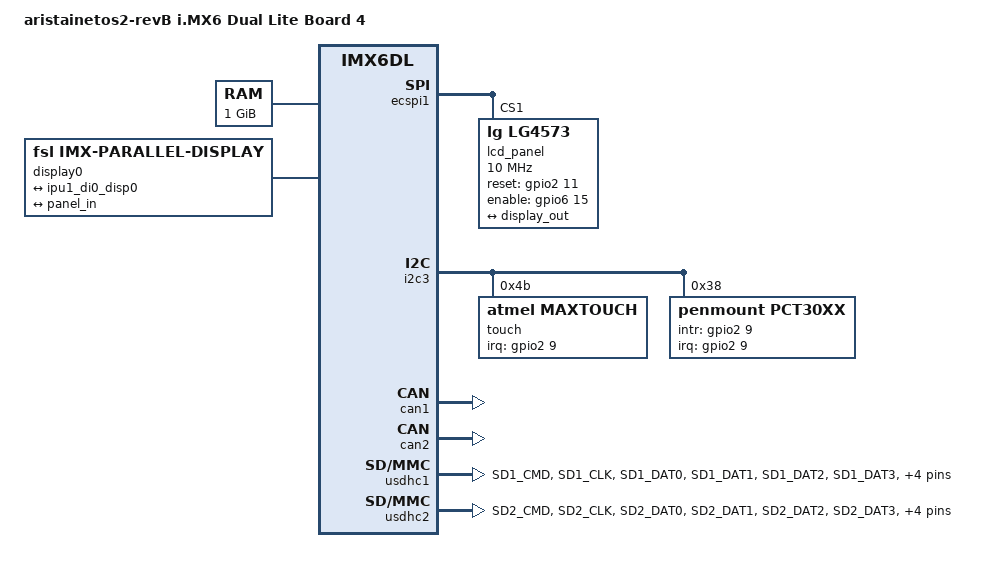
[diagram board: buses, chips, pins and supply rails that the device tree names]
/*
 * support for the imx6 based aristainetos2-revB board
 *
 * Copyright (C) 2015 Heiko Schocher <hs@denx.de>
 *
 * This file is dual-licensed: you can use it either under the terms
 * of the GPL or the X11 license, at your option. Note that this dual
 * licensing only applies to this file, and not this project as a
 * whole.
 *
 *  a) This file is free software; you can redistribute it and/or
 *     modify it under the terms of the GNU General Public License
 *     version 2 as published by the Free Software Foundation.
 *
 *     This file is distributed in the hope that it will be useful
 *     but WITHOUT ANY WARRANTY; without even the implied warranty of
 *     MERCHANTABILITY or FITNESS FOR A PARTICULAR PURPOSE.  See the
 *     GNU General Public License for more details.
 *
 * Or, alternatively
 *
 *  b) Permission is hereby granted, free of charge, to any person
 *     obtaining a copy of this software and associated documentation
 *     files (the "Software"), to deal in the Software without
 *     restriction, including without limitation the rights to use
 *     copy, modify, merge, publish, distribute, sublicense, and/or
 *     sell copies of the Software, and to permit persons to whom the
 *     Software is furnished to do so, subject to the following
 *     conditions:
 *
 *     The above copyright notice and this permission notice shall be
 *     included in all copies or substantial portions of the Software.
 *
 *     THE SOFTWARE IS PROVIDED , WITHOUT WARRANTY OF ANY KIND
 *     EXPRESS OR IMPLIED, INCLUDING BUT NOT LIMITED TO THE WARRANTIES
 *     OF MERCHANTABILITY, FITNESS FOR A PARTICULAR PURPOSE AND
 *     NONINFRINGEMENT. IN NO EVENT SHALL THE AUTHORS OR COPYRIGHT
 *     HOLDERS BE LIABLE FOR ANY CLAIM, DAMAGES OR OTHER LIABILITY
 *     WHETHER IN AN ACTION OF CONTRACT, TORT OR OTHERWISE, ARISING
 *     FROM, OUT OF OR IN CONNECTION WITH THE SOFTWARE OR THE USE OR
 *     OTHER DEALINGS IN THE SOFTWARE.
 */
/dts-v1/;
#include "imx6dl.dtsi"
#include "imx6qdl-aristainetos2b.dtsi"

/ {
	model = "aristainetos2-revB i.MX6 Dual Lite Board 4";
	compatible = "fsl,imx6dl";

	memory {
		reg = <0x10000000 0x40000000>;
	};

	display0: display@di0 {
		#address-cells = <1>;
		#size-cells = <0>;
		compatible = "fsl,imx-parallel-display";
		interface-pix-fmt = "rgb24";
		pinctrl-names = "default";
		pinctrl-0 = <&pinctrl_ipu_disp>;

		port@0 {
			reg = <0>;
			display0_in: endpoint {
				remote-endpoint = <&ipu1_di0_disp0>;
			};
		};

		port@1 {
			reg = <1>;
			display_out: endpoint {
				remote-endpoint = <&panel_in>;
			};
		};
	};
};

&ipu1_di0_disp0 {
	remote-endpoint = <&display0_in>;
};

&ecspi1 {
	lcd_panel: display@1 {
		#address-cells = <1>;
		#size-cells = <1>;
		compatible = "lg,lg4573";
		spi-max-frequency = <10000000>;
		reset-gpios = <&gpio2 11 GPIO_ACTIVE_HIGH>;
		reg = <1>;
		enable-gpios = <&gpio6 15 GPIO_ACTIVE_HIGH>;

		port {
			panel_in: endpoint {
				remote-endpoint = <&display_out>;
			};
		};
	};
};

&i2c3 {
	touch: touch@4b {
		compatible = "atmel,maxtouch";
		reg = <0x4b>;
		interrupt-parent = <&gpio2>;
		interrupts = <9 8>;
	};
	penmount: penmount-i2c@38 {
		compatible = "penmount,pct30xx";
		reg = <0x38>;
		interrupt-parent = <&gpio2>;
		interrupts = <9 8>; // IRQ_TYPE_LEVEL_LOW not used in driver (hardcoded)
		gpio_intr = <&gpio2 9 0>; // needs to be the same as above interrupt declaration
	};
};

&can1 {
	pinctrl-names = "default";
	pinctrl-0 = <&pinctrl_flexcan1>;
	status = "okay";
};

&can2 {
	pinctrl-names = "default";
	pinctrl-0 = <&pinctrl_flexcan2>;
	status = "okay";
};

&usdhc1 {
	pinctrl-names = "default";
	pinctrl-0 = <&pinctrl_usdhc1>;
	cd-gpios = <&gpio1 27 GPIO_ACTIVE_LOW>;
	wp-gpios = <&gpio4 20 GPIO_ACTIVE_HIGH>;
	no-1-8-v;
	status = "okay";
};

&usdhc2 {
	pinctrl-names = "default";
	pinctrl-0 = <&pinctrl_usdhc2>;
	cd-gpios = <&gpio4 5 GPIO_ACTIVE_LOW>; /* comment out this line to make the WiFi Eval-Module work in SD-Slot2 */
/*	broken-cd; remove comment  to make the WiFi Eval-Module work in SD-Slot2, causes 6% CPU load if no WiFi module installed (polling) */

	wp-gpios = <&gpio2 10 GPIO_ACTIVE_HIGH>;
	no-1-8-v;
	status = "okay";
};

&iomuxc {
	pinctrl_ipu_disp: ipudisp1grp {
		fsl,pins = <
			MX6QDL_PAD_DI0_DISP_CLK__IPU1_DI0_DISP_CLK 0x31
			MX6QDL_PAD_DI0_PIN15__IPU1_DI0_PIN15       0xE1
			MX6QDL_PAD_DI0_PIN2__IPU1_DI0_PIN02        0x10
			MX6QDL_PAD_DI0_PIN3__IPU1_DI0_PIN03        0x10
			MX6QDL_PAD_DISP0_DAT0__IPU1_DISP0_DATA00   0xE1
			MX6QDL_PAD_DISP0_DAT1__IPU1_DISP0_DATA01   0xE1
			MX6QDL_PAD_DISP0_DAT2__IPU1_DISP0_DATA02   0xE1
			MX6QDL_PAD_DISP0_DAT3__IPU1_DISP0_DATA03   0xE1
			MX6QDL_PAD_DISP0_DAT4__IPU1_DISP0_DATA04   0xE1
			MX6QDL_PAD_DISP0_DAT5__IPU1_DISP0_DATA05   0xE1
			MX6QDL_PAD_DISP0_DAT6__IPU1_DISP0_DATA06   0xE1
			MX6QDL_PAD_DISP0_DAT7__IPU1_DISP0_DATA07   0xE1
			MX6QDL_PAD_DISP0_DAT8__IPU1_DISP0_DATA08   0xE1
			MX6QDL_PAD_DISP0_DAT9__IPU1_DISP0_DATA09   0xE1
			MX6QDL_PAD_DISP0_DAT10__IPU1_DISP0_DATA10  0xE1
			MX6QDL_PAD_DISP0_DAT11__IPU1_DISP0_DATA11  0xE1
			MX6QDL_PAD_DISP0_DAT12__IPU1_DISP0_DATA12  0xE1
			MX6QDL_PAD_DISP0_DAT13__IPU1_DISP0_DATA13  0xE1
			MX6QDL_PAD_DISP0_DAT14__IPU1_DISP0_DATA14  0xe1
			MX6QDL_PAD_DISP0_DAT15__IPU1_DISP0_DATA15  0xE1
			MX6QDL_PAD_DISP0_DAT16__IPU1_DISP0_DATA16  0xE1
			MX6QDL_PAD_DISP0_DAT17__IPU1_DISP0_DATA17  0xE1
			MX6QDL_PAD_DISP0_DAT18__IPU1_DISP0_DATA18  0xE1
			MX6QDL_PAD_DISP0_DAT19__IPU1_DISP0_DATA19  0xE1
			MX6QDL_PAD_DISP0_DAT20__IPU1_DISP0_DATA20  0xE1
			MX6QDL_PAD_DISP0_DAT21__IPU1_DISP0_DATA21  0xE1
			MX6QDL_PAD_DISP0_DAT22__IPU1_DISP0_DATA22  0xE1
			MX6QDL_PAD_DISP0_DAT23__IPU1_DISP0_DATA23  0xE1
		>;
	};
	pinctrl_usdhc1: usdhc1grp {
		fsl,pins = <
			MX6QDL_PAD_SD1_CMD__SD1_CMD    0x17059
			MX6QDL_PAD_SD1_CLK__SD1_CLK    0x10059
			MX6QDL_PAD_SD1_DAT0__SD1_DATA0 0x17059
			MX6QDL_PAD_SD1_DAT1__SD1_DATA1 0x17059
			MX6QDL_PAD_SD1_DAT2__SD1_DATA2 0x17059
			MX6QDL_PAD_SD1_DAT3__SD1_DATA3 0x17059
			MX6QDL_PAD_ENET_RXD0__GPIO1_IO27	0x1b0b0 /* SD1 card detect input */
			MX6QDL_PAD_DI0_PIN4__GPIO4_IO20		0x1b0b0 /* SD1 write protect input */
		>;
	};

	pinctrl_usdhc2: usdhc2grp {
		fsl,pins = <
			MX6QDL_PAD_SD2_CMD__SD2_CMD    0x71
			MX6QDL_PAD_SD2_CLK__SD2_CLK    0x71
			MX6QDL_PAD_SD2_DAT0__SD2_DATA0 0x71
			MX6QDL_PAD_SD2_DAT1__SD2_DATA1 0x71
			MX6QDL_PAD_SD2_DAT2__SD2_DATA2 0x71
			MX6QDL_PAD_SD2_DAT3__SD2_DATA3 0x71
			MX6QDL_PAD_GPIO_19__GPIO4_IO05		0x1b0b0 /* SD2 card detect input */
			MX6QDL_PAD_SD4_DAT2__GPIO2_IO10		0x1b0b0 /* SD2 write protect input */
		>;
	};
};
